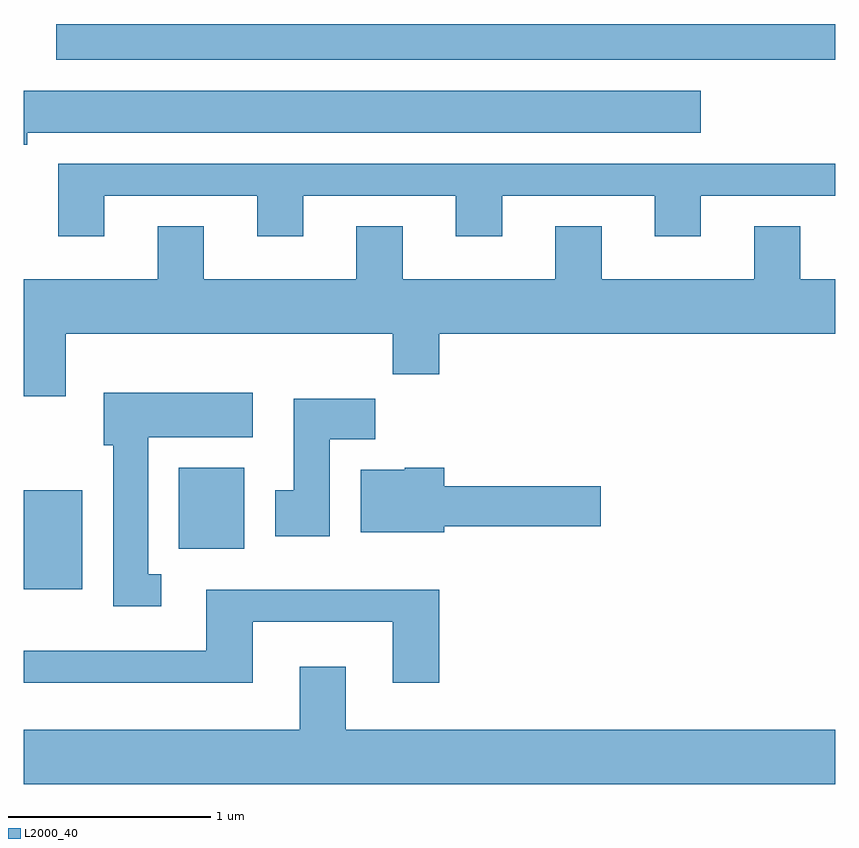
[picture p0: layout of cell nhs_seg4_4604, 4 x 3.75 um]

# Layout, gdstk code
import gdstk
lib = gdstk.Library(unit=1e-6, precision=1e-09)
def R(c, l, rs):  # rectangles x0, y0, x1, y1
    for r in rs: c.add(gdstk.rectangle(r[:2], r[2:], *l))
def P(c, l, *ps):  # polygons
    for p in ps: c.add(gdstk.Polygon(p, *l))
L2000_40 = (2000, 40)

nhs_seg4_4604 = lib.new_cell('nhs_seg4_4604')
R(nhs_seg4_4604, L2000_40, [(319.611,1351.196,319.899,1351.684), (320.376,1351.396,320.699,1351.794), (319.771,1353.806,323.611,1353.982)])
P(nhs_seg4_4604, L2000_40, [(319.629,1353.446),(322.949,1353.446),(322.949,1353.654),(319.611,1353.654),(319.611,1353.386),(319.629,1353.386)],
  [(320.009,1353.136),(320.761,1353.136),(320.761,1352.936),(320.989,1352.936),(320.989,1353.136),(321.741,1353.136),(321.741,1352.936),(321.969,1352.936),(321.969,1353.136),(322.721,1353.136),(322.721,1352.936),(322.949,1352.936),(322.949,1353.136),(323.611,1353.136),(323.611,1353.294),(319.781,1353.294),(319.781,1352.936),(320.009,1352.936)],
  [(319.819,1352.456),(321.431,1352.456),(321.431,1352.256),(321.659,1352.256),(321.659,1352.456),(323.611,1352.456),(323.611,1352.724),(323.439,1352.724),(323.439,1352.984),(323.211,1352.984),(323.211,1352.724),(322.459,1352.724),(322.459,1352.984),(322.231,1352.984),(322.231,1352.724),(321.479,1352.724),(321.479,1352.984),(321.251,1352.984),(321.251,1352.724),(320.499,1352.724),(320.499,1352.984),(320.271,1352.984),(320.271,1352.724),(319.611,1352.724),(319.611,1352.146),(319.819,1352.146)],
  [(320.288,1351.269),(320.224,1351.269),(320.224,1351.946),(320.739,1351.946),(320.739,1352.164),(320.006,1352.164),(320.006,1351.906),(320.051,1351.906),(320.051,1351.111),(320.288,1351.111)],
  [(321.119,1351.936),(321.344,1351.936),(321.344,1352.134),(320.941,1352.134),(320.941,1351.684),(320.851,1351.684),(320.851,1351.456),(321.119,1351.456)],
  [(321.684,1351.506),(322.454,1351.506),(322.454,1351.704),(321.684,1351.704),(321.684,1351.794),(321.49,1351.794),(321.49,1351.784),(321.271,1351.784),(321.271,1351.476),(321.684,1351.476)],
  [(320.739,1351.036),(321.431,1351.036),(321.431,1350.736),(321.659,1350.736),(321.659,1351.194),(320.511,1351.194),(320.511,1350.894),(319.611,1350.894),(319.611,1350.736),(320.739,1350.736)],
  [(323.611,1350.504),(321.199,1350.504),(321.199,1350.814),(320.971,1350.814),(320.971,1350.504),(319.611,1350.504),(319.611,1350.236),(323.611,1350.236)])

lib.write_gds('nhs_seg4_4604.gds')
